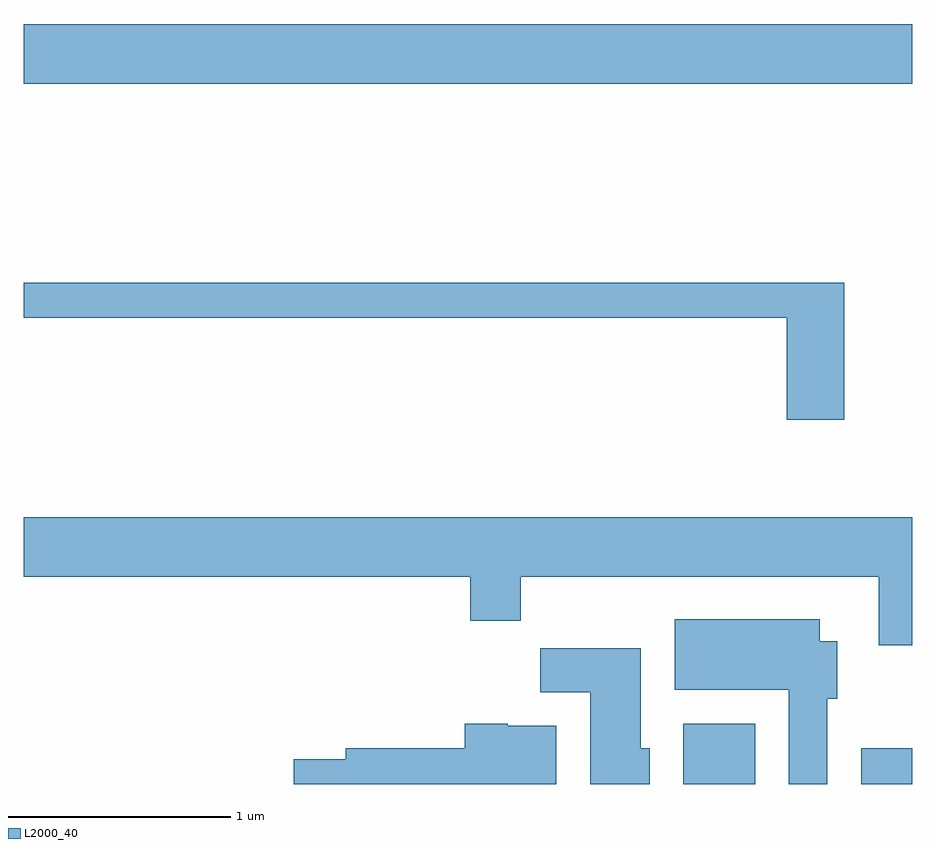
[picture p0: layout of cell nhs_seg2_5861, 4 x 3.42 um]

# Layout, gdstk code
import gdstk
lib = gdstk.Library(unit=1e-6, precision=1e-09)
def R(c, l, rs):  # rectangles x0, y0, x1, y1
    for r in rs: c.add(gdstk.rectangle(r[:2], r[2:], *l))
def P(c, l, *ps):  # polygons
    for p in ps: c.add(gdstk.Polygon(p, *l))
L2000_40 = (2000, 40)

nhs_seg2_5861 = lib.new_cell('nhs_seg2_5861')
R(nhs_seg2_5861, L2000_40, [(360.581,1071.802,360.904,1072.074), (361.381,1071.802,361.611,1071.964), (357.611,1074.956,361.611,1075.224)])
P(nhs_seg2_5861, L2000_40, [(361.304,1074.059),(357.611,1074.059),(357.611,1073.901),(361.046,1073.901),(361.046,1073.441),(361.304,1073.441)],
  [(361.611,1073.004),(357.611,1073.004),(357.611,1072.736),(359.621,1072.736),(359.621,1072.536),(359.849,1072.536),(359.849,1072.736),(361.461,1072.736),(361.461,1072.426),(361.611,1072.426)],
  [(361.229,1072.186),(361.274,1072.186),(361.274,1072.444),(361.194,1072.444),(361.194,1072.544),(360.541,1072.544),(360.541,1072.226),(361.056,1072.226),(361.056,1071.802),(361.229,1071.802)],
  [(360.429,1071.964),(360.389,1071.964),(360.389,1072.414),(359.936,1072.414),(359.936,1072.216),(360.161,1072.216),(360.161,1071.802),(360.429,1071.802)],
  [(360.009,1072.064),(359.79,1072.064),(359.79,1072.074),(359.596,1072.074),(359.596,1071.964),(359.061,1071.964),(359.061,1071.914),(358.826,1071.914),(358.826,1071.802),(360.009,1071.802)])

lib.write_gds('nhs_seg2_5861.gds')
